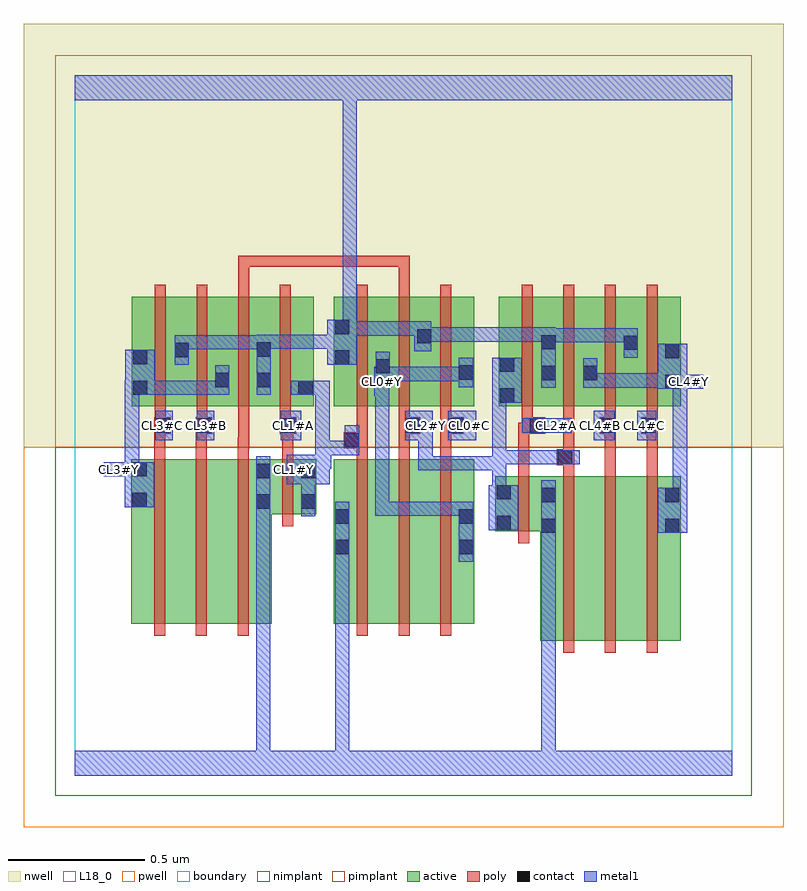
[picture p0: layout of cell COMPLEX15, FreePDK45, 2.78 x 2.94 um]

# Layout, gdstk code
import gdstk
lib = gdstk.Library(unit=1e-6, precision=1e-09)
def R(c, l, rs):  # rectangles x0, y0, x1, y1
    for r in rs: c.add(gdstk.rectangle(r[:2], r[2:], *l))
def A(c, l, x, y, w, h, nx, ny, dx, dy):  # array of equal rectangles
    R(c, l, [(x+i*dx, y+j*dy, x+i*dx+w, y+j*dy+h) for i in range(nx) for j in range(ny)])
active = (1, 0)
pwell = (2, 0)
nwell = (3, 0)
nimplant = (4, 0)
pimplant = (5, 0)
poly = (9, 0)
contact = (10, 0)
metal1 = (11, 0)
L18_0 = (18, 0)
boundary = (235, 0)

complex15 = lib.new_cell('COMPLEX15')
R(complex15, active, [(1.7,0.494,1.88,1.094), (1.88,0.494,2.032,1.094), (2.032,0.494,2.212,1.094), (0.206,0.556,0.386,1.156), (0.206,0.556,0.266,1.156), (0.386,0.556,0.538,1.156), (0.538,0.556,0.718,1.156), (0.946,0.556,1.126,1.156), (0.946,0.556,1.006,1.156), (1.126,0.556,1.278,1.156), (1.278,0.556,1.458,1.156), (1.398,0.556,1.458,1.156), (2.152,0.556,2.212,1.094), (1.7,0.678,1.76,1.056), (0.658,0.76,0.718,1.144), (1.536,0.894,1.76,1.094), (1.536,0.894,1.596,1.094), (0.658,0.956,0.882,1.156), (0.822,0.956,0.882,1.156), (0.208,1.35,0.42,1.75), (0.208,1.35,0.268,1.75), (0.36,1.35,0.568,1.75), (0.508,1.35,0.72,1.75), (0.66,1.35,0.872,1.75), (0.812,1.35,0.872,1.644), (0.946,1.35,1.154,1.75), (0.946,1.35,1.006,1.75), (1.094,1.35,1.306,1.75), (1.246,1.35,1.458,1.75), (1.398,1.35,1.458,1.75), (1.548,1.35,1.76,1.75), (1.548,1.35,1.608,1.75), (1.7,1.35,1.912,1.75), (1.852,1.35,2.06,1.75), (2,1.35,2.212,1.75), (2.152,1.35,2.212,1.644), (0.508,1.416,0.568,1.75), (0.66,1.416,0.72,1.75), (1.7,1.436,1.76,1.744), (1.852,1.442,1.912,1.644), (1.094,1.466,1.154,1.644), (1.246,1.486,1.306,1.75), (2,1.512,2.06,1.75), (0.36,1.526,0.42,1.75)])
R(complex15, pwell, [(-0.188,-0.188,2.588,1.2)])
R(complex15, nwell, [(-0.188,1.2,2.588,2.748)])
R(complex15, nimplant, [(-0.072,-0.072,2.472,1.2)])
R(complex15, pimplant, [(-0.072,1.2,2.472,2.632)])
A(complex15, poly, 1.784, 0.45, 0.04, 0.688, 3, 1, 0.152, 0)
A(complex15, poly, 0.29, 0.512, 0.04, 0.688, 3, 1, 0.152, 0)
A(complex15, poly, 1.03, 0.512, 0.04, 0.688, 3, 1, 0.152, 0)
A(complex15, poly, 0.292, 1.306, 0.04, 0.488, 4, 1, 0.152, 0)
A(complex15, poly, 1.03, 1.306, 0.04, 0.488, 3, 1, 0.152, 0)
A(complex15, poly, 1.632, 1.306, 0.04, 0.488, 4, 1, 0.152, 0)
R(complex15, poly, [(1.62,0.85,1.66,1.138), (0.758,0.912,0.798,1.2), (1.62,1.098,1.66,1.29), (1.784,1.098,1.824,1.174), (1.936,1.098,1.976,1.29), (2.088,1.098,2.128,1.29), (1.76,1.134,1.824,1.194), (1.784,1.154,1.824,1.194), (1.784,1.154,1.824,1.194), (1.784,1.154,1.824,1.346), (0.29,1.16,0.33,1.29), (0.442,1.16,0.482,1.29), (0.594,1.16,0.634,1.236), (0.758,1.16,0.798,1.29), (1.03,1.16,1.07,1.236), (1.182,1.16,1.222,1.29), (1.334,1.16,1.374,1.29), (0.594,1.196,0.634,1.236), (0.594,1.196,0.634,1.236), (0.594,1.196,0.636,1.236), (0.596,1.196,0.636,1.346), (0.982,1.196,1.07,1.256), (1.03,1.216,1.07,1.256), (1.03,1.216,1.07,1.256), (1.03,1.216,1.07,1.346), (0.29,1.25,0.35,1.31), (0.442,1.25,0.502,1.31), (0.748,1.25,0.808,1.31), (0.758,1.25,0.798,1.29), (0.758,1.25,0.798,1.29), (1.182,1.25,1.262,1.31), (1.334,1.25,1.374,1.29), (1.334,1.25,1.374,1.29), (1.334,1.25,1.42,1.31), (1.62,1.25,1.672,1.29), (1.632,1.25,1.672,1.29), (1.632,1.25,1.718,1.31), (1.916,1.25,1.976,1.31), (1.936,1.25,1.976,1.29), (1.936,1.25,1.976,1.29), (2.068,1.25,2.128,1.31), (0.292,1.27,0.332,1.346), (0.292,1.27,0.332,1.31), (0.292,1.27,0.332,1.31), (0.444,1.27,0.484,1.346), (0.444,1.27,0.484,1.31), (0.444,1.27,0.484,1.31), (0.748,1.27,0.788,1.346), (1.182,1.27,1.222,1.346), (1.182,1.27,1.222,1.31), (1.182,1.27,1.222,1.31), (1.334,1.27,1.374,1.346), (1.632,1.27,1.672,1.346), (1.936,1.27,1.976,1.346), (2.088,1.27,2.128,1.346), (2.088,1.27,2.128,1.31), (2.088,1.27,2.128,1.31), (0.596,1.754,0.636,1.9), (1.182,1.754,1.222,1.9), (0.596,1.86,0.636,1.9), (0.596,1.86,0.636,1.9), (0.596,1.86,0.636,1.9), (0.596,1.86,0.742,1.9), (0.702,1.86,0.742,1.9), (0.702,1.86,0.742,1.9), (0.702,1.86,0.742,1.9), (0.702,1.86,0.848,1.9), (0.808,1.86,0.848,1.9), (0.808,1.86,0.848,1.9), (0.808,1.86,0.848,1.9), (0.808,1.86,1.222,1.9), (1.182,1.86,1.222,1.9), (1.182,1.86,1.222,1.9), (1.182,1.86,1.222,1.9)])
R(complex15, contact, [(0.95,0.81,1.002,0.862), (1.402,0.81,1.454,0.862), (1.704,0.888,1.756,0.94), (2.156,0.888,2.208,0.94), (1.54,0.898,1.592,0.95), (0.95,0.922,1.002,0.974), (1.402,0.922,1.454,0.974), (0.662,0.976,0.714,1.028), (0.826,0.976,0.878,1.028), (0.21,0.982,0.262,1.034), (1.704,1,1.756,1.052), (2.156,1,2.208,1.052), (1.54,1.01,1.592,1.062), (0.662,1.088,0.714,1.14), (0.826,1.088,0.878,1.14), (0.21,1.094,0.262,1.146), (1.764,1.138,1.816,1.19), (0.986,1.2,1.038,1.252), (0.294,1.254,0.346,1.306), (0.446,1.254,0.498,1.306), (0.752,1.254,0.804,1.306), (1.206,1.254,1.258,1.306), (1.364,1.254,1.416,1.306), (1.662,1.254,1.714,1.306), (1.92,1.254,1.972,1.306), (2.072,1.254,2.124,1.306), (1.552,1.364,1.604,1.416), (0.212,1.392,0.264,1.444), (0.816,1.392,0.868,1.444), (2.156,1.414,2.208,1.466), (0.512,1.42,0.564,1.472), (0.664,1.42,0.716,1.472), (1.704,1.446,1.756,1.498), (1.856,1.446,1.908,1.498), (1.402,1.448,1.454,1.5), (1.098,1.47,1.15,1.522), (1.552,1.476,1.604,1.528), (0.95,1.502,1.002,1.554), (0.212,1.504,0.264,1.556), (2.156,1.526,2.208,1.578), (0.364,1.53,0.416,1.582), (0.664,1.532,0.716,1.584), (2.004,1.556,2.056,1.608), (1.704,1.558,1.756,1.61), (1.25,1.58,1.302,1.632), (0.95,1.614,1.002,1.666)])
R(complex15, metal1, [(0,0,2.4,0.092), (0.662,0.04,0.714,0.092), (0.662,0.04,0.714,0.092), (0.662,0.04,0.714,0.092), (0.662,0.04,0.714,0.092), (0.662,0.04,0.714,0.092), (0.662,0.04,0.714,0.092), (0.662,0.04,0.714,1), (0.95,0.04,1.002,0.092), (0.95,0.04,1.002,0.092), (0.95,0.04,1.002,0.092), (0.95,0.04,1.002,0.092), (0.95,0.04,1.002,0.092), (0.95,0.04,1.002,0.092), (0.95,0.04,1.002,0.092), (0.95,0.04,1.002,0.092), (0.95,0.04,1.002,0.834), (1.704,0.04,1.756,0.092), (1.704,0.04,1.756,0.092), (1.704,0.04,1.756,0.092), (1.704,0.04,1.756,0.092), (1.704,0.04,1.756,0.092), (1.704,0.04,1.756,0.092), (1.704,0.04,1.756,0.912), (0.95,0.782,1.002,1.002), (1.402,0.782,1.454,1.002), (1.704,0.86,1.756,0.912), (1.704,0.86,1.756,0.912), (1.704,0.86,1.756,1.08), (2.128,0.888,2.236,1.052), (1.512,0.898,1.62,1.062), (0.662,0.948,0.714,1), (0.662,0.948,0.714,1), (0.662,0.948,0.714,1.168), (0.826,0.948,0.878,1.168), (1.096,0.95,1.148,1.002), (1.096,0.95,1.306,1.002), (1.096,0.95,1.148,1.438), (1.254,0.95,1.306,1.002), (1.254,0.95,1.306,1.002), (1.254,0.95,1.306,1.002), (1.254,0.95,1.454,1.002), (1.402,0.95,1.454,1.002), (1.402,0.95,1.454,1.002), (0.182,0.982,0.29,1.146), (2.184,1,2.236,1.466), (1.524,1.01,1.576,1.168), (0.774,1.066,0.93,1.174), (0.826,1.066,0.878,1.118), (0.106,1.094,0.234,1.146), (0.182,1.094,0.234,1.146), (0.182,1.094,0.234,1.444), (1.254,1.116,1.454,1.168), (1.254,1.116,1.306,1.278), (1.402,1.116,1.454,1.168), (1.402,1.116,1.454,1.168), (1.402,1.116,1.454,1.168), (1.402,1.116,1.576,1.168), (1.524,1.116,1.576,1.19), (0.878,1.122,0.93,1.174), (0.878,1.122,0.93,1.174), (0.878,1.122,0.936,1.174), (0.878,1.122,0.93,1.444), (0.884,1.122,0.936,1.224), (1.524,1.138,1.576,1.19), (1.524,1.138,1.576,1.19), (1.524,1.138,1.686,1.19), (1.524,1.138,1.576,1.416), (1.634,1.138,1.686,1.19), (1.634,1.138,1.788,1.19), (1.736,1.138,1.844,1.19), (0.884,1.172,1.038,1.224), (0.986,1.172,1.038,1.28), (0.294,1.226,0.358,1.334), (0.444,1.226,0.508,1.334), (0.752,1.226,0.826,1.334), (1.206,1.226,1.306,1.334), (1.254,1.226,1.306,1.278), (1.364,1.226,1.466,1.334), (1.894,1.226,1.972,1.334), (2.054,1.226,2.124,1.334), (1.634,1.254,1.814,1.306), (1.524,1.364,1.576,1.416), (1.524,1.364,1.576,1.416), (1.524,1.364,1.632,1.528), (1.094,1.386,1.148,1.494), (0.182,1.392,0.236,1.444), (0.184,1.392,0.236,1.444), (0.184,1.392,0.292,1.556), (0.24,1.392,0.292,1.444), (0.24,1.392,0.292,1.444), (0.24,1.392,0.402,1.444), (0.35,1.392,0.402,1.444), (0.35,1.392,0.402,1.444), (0.35,1.392,0.402,1.444), (0.35,1.392,0.564,1.444), (0.512,1.392,0.564,1.5), (0.664,1.392,0.716,1.612), (0.788,1.392,0.93,1.444), (2.128,1.414,2.236,1.578), (2.184,1.414,2.236,1.466), (2.184,1.414,2.236,1.466), (2.184,1.414,2.236,1.466), (2.184,1.414,2.294,1.466), (1.704,1.418,1.756,1.638), (1.856,1.418,1.908,1.47), (1.856,1.418,1.908,1.47), (1.856,1.418,1.908,1.526), (1.856,1.418,2.052,1.47), (2,1.418,2.052,1.47), (2,1.418,2.18,1.47), (2.128,1.418,2.18,1.47), (2.128,1.418,2.18,1.47), (1.402,1.42,1.454,1.528), (1.096,1.442,1.148,1.494), (1.096,1.442,1.15,1.494), (1.098,1.442,1.15,1.494), (1.098,1.442,1.15,1.55), (1.098,1.442,1.306,1.494), (1.254,1.442,1.306,1.494), (1.254,1.442,1.306,1.494), (1.254,1.442,1.306,1.494), (1.254,1.442,1.454,1.494), (1.402,1.442,1.454,1.494), (1.402,1.442,1.454,1.494), (0.364,1.502,0.416,1.61), (0.922,1.502,1.03,1.666), (2.004,1.528,2.056,1.636), (1.24,1.552,1.302,1.66), (0.364,1.558,0.416,1.61), (0.364,1.558,0.416,1.61), (0.364,1.558,0.604,1.61), (0.552,1.558,0.604,1.61), (0.552,1.558,0.604,1.61), (0.552,1.558,0.604,1.61), (0.552,1.558,0.716,1.61), (0.664,1.56,0.716,1.612), (0.664,1.56,0.716,1.612), (0.664,1.56,0.826,1.612), (0.774,1.56,0.826,1.612), (0.774,1.56,0.974,1.612), (1.704,1.584,1.756,1.636), (1.704,1.584,1.756,1.636), (1.704,1.584,1.866,1.636), (1.814,1.584,1.866,1.636), (1.814,1.584,1.866,1.636), (1.814,1.584,1.866,1.636), (1.814,1.584,2.056,1.636), (1.25,1.586,1.454,1.638), (1.402,1.586,1.454,1.638), (1.402,1.586,1.454,1.638), (1.402,1.586,1.454,1.638), (1.402,1.586,1.576,1.638), (1.524,1.586,1.576,1.638), (1.524,1.586,1.576,1.638), (1.524,1.586,1.576,1.638), (1.524,1.586,1.756,1.638), (0.978,1.608,1.148,1.66), (1.096,1.608,1.148,1.66), (1.096,1.608,1.148,1.66), (1.096,1.608,1.148,1.66), (1.096,1.608,1.292,1.66), (1.24,1.608,1.292,1.66), (1.24,1.608,1.292,1.66), (0.978,1.614,1.03,2.52), (0,2.468,2.4,2.56), (0.978,2.468,1.03,2.52), (0.978,2.468,1.03,2.52), (0.978,2.468,1.03,2.52), (0.978,2.468,1.03,2.52), (0.978,2.468,1.03,2.52), (0.978,2.468,1.03,2.52), (0.978,2.468,1.03,2.52), (0.978,2.468,1.03,2.52), (0.978,2.468,1.03,2.52), (0.978,2.468,1.03,2.52), (0.978,2.468,1.03,2.52), (0.978,2.468,1.03,2.52), (0.978,2.468,1.03,2.52), (0.978,2.468,1.03,2.52), (0.978,2.468,1.03,2.52), (0.978,2.468,1.03,2.52)])
A(complex15, L18_0, 1.734, 1.254, 0.052, 0.052, 3, 1, 0.16, 0)
R(complex15, L18_0, [(0,0,2.4,0.092), (0.662,0.04,0.714,0.092), (0.662,0.04,0.714,0.092), (0.662,0.04,0.714,0.092), (0.662,0.04,0.714,0.092), (0.662,0.04,0.714,0.092), (0.662,0.04,0.714,0.092), (0.662,0.04,0.714,1), (0.95,0.04,1.002,0.092), (0.95,0.04,1.002,0.092), (0.95,0.04,1.002,0.092), (0.95,0.04,1.002,0.092), (0.95,0.04,1.002,0.092), (0.95,0.04,1.002,0.092), (0.95,0.04,1.002,0.092), (0.95,0.04,1.002,0.092), (0.95,0.04,1.002,0.834), (1.704,0.04,1.756,0.092), (1.704,0.04,1.756,0.092), (1.704,0.04,1.756,0.092), (1.704,0.04,1.756,0.092), (1.704,0.04,1.756,0.092), (1.704,0.04,1.756,0.092), (1.704,0.04,1.756,0.912), (0.95,0.782,1.002,1.002), (1.402,0.782,1.454,1.002), (1.704,0.86,1.756,0.912), (1.704,0.86,1.756,0.912), (1.704,0.86,1.756,1.08), (2.128,0.888,2.236,1.052), (1.512,0.898,1.62,1.062), (0.662,0.948,0.714,1), (0.662,0.948,0.714,1), (0.662,0.948,0.714,1.168), (0.826,0.948,0.878,1.168), (1.096,0.95,1.148,1.002), (1.096,0.95,1.148,1.438), (1.096,0.95,1.306,1.002), (1.254,0.95,1.306,1.002), (1.254,0.95,1.306,1.002), (1.254,0.95,1.306,1.002), (1.254,0.95,1.454,1.002), (1.402,0.95,1.454,1.002), (1.402,0.95,1.454,1.002), (0.182,0.982,0.29,1.146), (2.184,1,2.236,1.466), (1.524,1.01,1.576,1.168), (0.774,1.066,0.93,1.174), (0.826,1.066,0.878,1.118), (0.106,1.094,0.234,1.146), (0.134,1.094,0.186,1.146), (0.182,1.094,0.234,1.146), (0.182,1.094,0.234,1.444), (0.774,1.094,0.826,1.146), (1.254,1.116,1.454,1.168), (1.254,1.116,1.306,1.278), (1.402,1.116,1.454,1.168), (1.402,1.116,1.454,1.168), (1.402,1.116,1.454,1.168), (1.402,1.116,1.576,1.168), (1.524,1.116,1.576,1.19), (0.878,1.122,0.93,1.174), (0.878,1.122,0.93,1.174), (0.878,1.122,0.93,1.444), (0.878,1.122,0.936,1.174), (0.884,1.122,0.936,1.224), (1.524,1.138,1.576,1.19), (1.524,1.138,1.576,1.19), (1.524,1.138,1.686,1.19), (1.524,1.138,1.576,1.416), (1.634,1.138,1.686,1.19), (1.634,1.138,1.788,1.19), (1.736,1.138,1.844,1.19), (0.884,1.172,1.038,1.224), (0.986,1.172,1.038,1.28), (0.294,1.226,0.358,1.334), (0.444,1.226,0.508,1.334), (0.752,1.226,0.826,1.334), (1.206,1.226,1.306,1.334), (1.254,1.226,1.306,1.278), (1.364,1.226,1.466,1.334), (1.894,1.226,1.972,1.334), (2.054,1.226,2.124,1.334), (0.294,1.254,0.346,1.306), (0.454,1.254,0.506,1.306), (0.774,1.254,0.826,1.306), (1.254,1.254,1.306,1.306), (1.414,1.254,1.466,1.306), (1.634,1.254,1.814,1.306), (1.524,1.364,1.632,1.528), (1.524,1.364,1.576,1.416), (1.524,1.364,1.576,1.416), (1.094,1.386,1.148,1.494), (0.182,1.392,0.236,1.444), (0.184,1.392,0.292,1.556), (0.184,1.392,0.236,1.444), (0.24,1.392,0.292,1.444), (0.24,1.392,0.292,1.444), (0.24,1.392,0.402,1.444), (0.35,1.392,0.402,1.444), (0.35,1.392,0.402,1.444), (0.35,1.392,0.402,1.444), (0.35,1.392,0.564,1.444), (0.512,1.392,0.564,1.5), (0.664,1.392,0.716,1.612), (0.788,1.392,0.93,1.444), (1.094,1.414,1.146,1.466), (2.128,1.414,2.236,1.578), (2.184,1.414,2.236,1.466), (2.184,1.414,2.236,1.466), (2.184,1.414,2.236,1.466), (2.184,1.414,2.294,1.466), (2.214,1.414,2.266,1.466), (1.704,1.418,1.756,1.638), (1.856,1.418,1.908,1.47), (1.856,1.418,1.908,1.47), (1.856,1.418,1.908,1.526), (1.856,1.418,2.052,1.47), (2,1.418,2.052,1.47), (2,1.418,2.18,1.47), (2.128,1.418,2.18,1.47), (2.128,1.418,2.18,1.47), (1.402,1.42,1.454,1.528), (1.096,1.442,1.148,1.494), (1.096,1.442,1.15,1.494), (1.098,1.442,1.15,1.494), (1.098,1.442,1.15,1.55), (1.098,1.442,1.306,1.494), (1.254,1.442,1.306,1.494), (1.254,1.442,1.306,1.494), (1.254,1.442,1.306,1.494), (1.254,1.442,1.454,1.494), (1.402,1.442,1.454,1.494), (1.402,1.442,1.454,1.494), (0.364,1.502,0.416,1.61), (0.922,1.502,1.03,1.666), (2.004,1.528,2.056,1.636), (1.24,1.552,1.302,1.66), (0.364,1.558,0.416,1.61), (0.364,1.558,0.416,1.61), (0.364,1.558,0.604,1.61), (0.552,1.558,0.604,1.61), (0.552,1.558,0.604,1.61), (0.552,1.558,0.604,1.61), (0.552,1.558,0.716,1.61), (0.664,1.56,0.716,1.612), (0.664,1.56,0.716,1.612), (0.664,1.56,0.826,1.612), (0.774,1.56,0.826,1.612), (0.774,1.56,0.974,1.612), (1.704,1.584,1.756,1.636), (1.704,1.584,1.756,1.636), (1.704,1.584,1.866,1.636), (1.814,1.584,1.866,1.636), (1.814,1.584,1.866,1.636), (1.814,1.584,1.866,1.636), (1.814,1.584,2.056,1.636), (1.25,1.586,1.454,1.638), (1.402,1.586,1.454,1.638), (1.402,1.586,1.454,1.638), (1.402,1.586,1.454,1.638), (1.402,1.586,1.576,1.638), (1.524,1.586,1.576,1.638), (1.524,1.586,1.576,1.638), (1.524,1.586,1.576,1.638), (1.524,1.586,1.756,1.638), (0.978,1.608,1.148,1.66), (1.096,1.608,1.148,1.66), (1.096,1.608,1.148,1.66), (1.096,1.608,1.148,1.66), (1.096,1.608,1.292,1.66), (1.24,1.608,1.292,1.66), (1.24,1.608,1.292,1.66), (0.978,1.614,1.03,2.52), (0,2.468,2.4,2.56), (0.978,2.468,1.03,2.52), (0.978,2.468,1.03,2.52), (0.978,2.468,1.03,2.52), (0.978,2.468,1.03,2.52), (0.978,2.468,1.03,2.52), (0.978,2.468,1.03,2.52), (0.978,2.468,1.03,2.52), (0.978,2.468,1.03,2.52), (0.978,2.468,1.03,2.52), (0.978,2.468,1.03,2.52), (0.978,2.468,1.03,2.52), (0.978,2.468,1.03,2.52), (0.978,2.468,1.03,2.52), (0.978,2.468,1.03,2.52), (0.978,2.468,1.03,2.52), (0.978,2.468,1.03,2.52)])
R(complex15, boundary, [(0,0,2.4,2.56)])
complex15.add(gdstk.Label('CL0#C', (1.44,1.28), layer=11, texttype=0))
complex15.add(gdstk.Label('CL0#Y', (1.12,1.44), layer=11, texttype=0))
complex15.add(gdstk.Label('CL1#A', (0.8,1.28), layer=11, texttype=0))
complex15.add(gdstk.Label('CL1#Y', (0.8,1.12), layer=11, texttype=0))
complex15.add(gdstk.Label('CL2#A', (1.76,1.28), layer=11, texttype=0))
complex15.add(gdstk.Label('CL2#Y', (1.28,1.28), layer=11, texttype=0))
complex15.add(gdstk.Label('CL3#B', (0.48,1.28), layer=11, texttype=0))
complex15.add(gdstk.Label('CL3#C', (0.32,1.28), layer=11, texttype=0))
complex15.add(gdstk.Label('CL3#Y', (0.16,1.12), layer=11, texttype=0))
complex15.add(gdstk.Label('CL4#B', (1.92,1.28), layer=11, texttype=0))
complex15.add(gdstk.Label('CL4#C', (2.08,1.28), layer=11, texttype=0))
complex15.add(gdstk.Label('CL4#Y', (2.24,1.44), layer=11, texttype=0))

lib.write_gds('COMPLEX15.gds')
